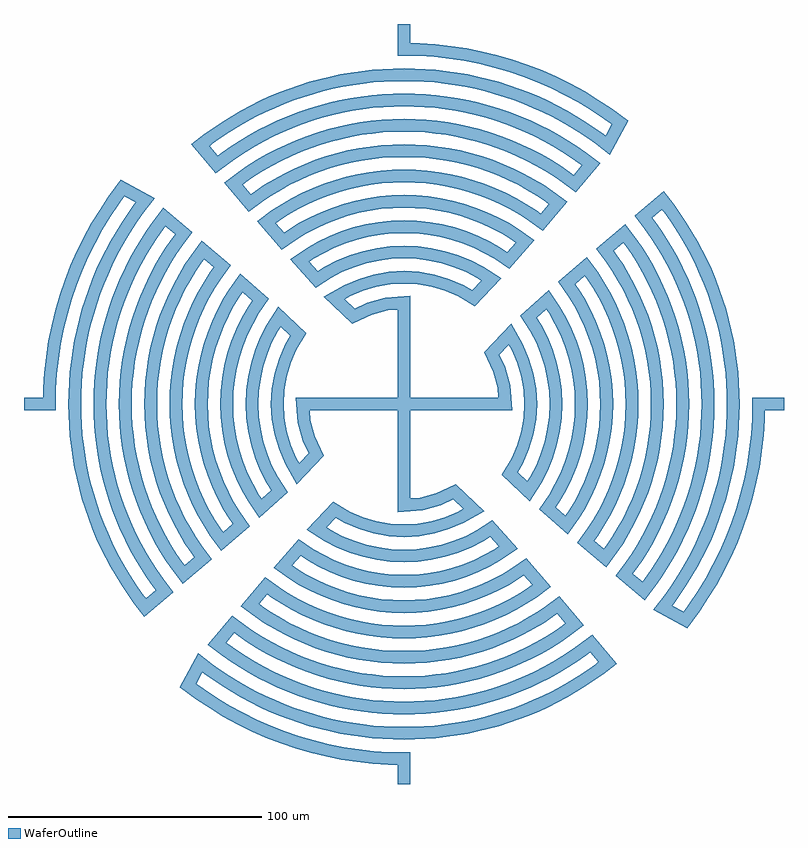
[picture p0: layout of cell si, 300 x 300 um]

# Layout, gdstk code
import gdstk
lib = gdstk.Library(unit=1e-6, precision=1e-09)
WaferOutline = (1, 0)

c_si = lib.new_cell('si')
c_si.add(gdstk.FlexPath([(0,0),(0,40),(-6.946,39.392),(-13.681,37.588),(-20,34.641),(-27.475,41.774),(-22.44,44.682),(-17.101,46.985),(-11.531,48.652),(-5.805,49.662),(0,50),(5.805,49.662),(11.531,48.652),(17.101,46.985),(22.44,44.682),(27.475,41.774),(34.415,49.149),(30,51.962),(25.357,54.378),(20.521,56.382),(15.529,57.956),(10.419,59.088),(5.229,59.772),(0,60),(-5.229,59.772),(-10.419,59.088),(-15.529,57.956),(-20.521,56.382),(-25.357,54.378),(-30,51.962),(-34.415,49.149),(-41.145,56.631),(-37.094,59.363),(-32.863,61.806),(-28.472,63.948),(-23.941,65.778),(-19.295,67.288),(-14.554,68.47),(-9.742,69.319),(-4.883,69.829),(0,70),(4.883,69.829),(9.742,69.319),(14.554,68.47),(19.295,67.288),(23.941,65.778),(28.472,63.948),(32.863,61.806),(37.094,59.363),(41.145,56.631),(47.773,64.17),(43.961,66.839),(40,69.282),(35.904,71.491),(31.686,73.457),(27.362,75.175),(22.944,76.639),(18.449,77.844),(13.892,78.785),(9.287,79.459),(4.652,79.865),(0,80),(-4.652,79.865),(-9.287,79.459),(-13.892,78.785),(-18.449,77.844),(-22.944,76.639),(-27.362,75.175),(-31.686,73.457),(-35.904,71.491),(-40,69.282),(-43.961,66.839),(-47.773,64.17),(-54.342,71.742),(-50.699,74.361),(-46.929,76.796),(-43.043,79.04),(-39.05,81.087),(-34.959,82.933),(-30.782,84.572),(-26.528,86.002),(-22.208,87.217),(-17.833,88.216),(-13.414,88.995),(-8.961,89.553),(-4.486,89.888),(0,90),(4.486,89.888),(8.961,89.553),(13.414,88.995),(17.833,88.216),(22.208,87.217),(26.528,86.002),(30.782,84.572),(34.959,82.933),(39.05,81.087),(43.043,79.04),(46.929,76.796),(50.699,74.361),(54.342,71.742),(60.876,79.335),(57.358,81.915),(53.73,84.339),(50,86.603),(46.175,88.701),(42.262,90.631),(38.268,92.388),(34.202,93.969),(30.071,95.372),(25.882,96.593),(21.644,97.63),(17.365,98.481),(13.053,99.144),(8.716,99.619),(4.362,99.905),(0,100),(-4.362,99.905),(-8.716,99.619),(-13.053,99.144),(-17.365,98.481),(-21.644,97.63),(-25.882,96.593),(-30.071,95.372),(-34.202,93.969),(-38.268,92.388),(-42.262,90.631),(-46.175,88.701),(-50,86.603),(-53.73,84.339),(-57.358,81.915),(-60.876,79.335),(-67.386,86.943),(-63.964,89.491),(-60.446,91.904),(-56.837,94.178),(-53.142,96.311),(-49.368,98.3),(-45.519,100.14),(-41.602,101.83),(-37.622,103.366),(-33.586,104.747),(-29.499,105.971),(-25.368,107.035),(-21.198,107.938),(-16.997,108.679),(-12.77,109.256),(-8.524,109.669),(-4.265,109.917),(0,110),(4.265,109.917),(8.524,109.669),(12.77,109.256),(16.997,108.679),(21.198,107.938),(25.368,107.035),(29.499,105.971),(33.586,104.747),(37.622,103.366),(41.602,101.83),(45.519,100.14),(49.368,98.3),(53.142,96.311),(56.837,94.178),(60.446,91.904),(63.964,89.491),(67.386,86.943),(73.879,94.561),(70.534,97.082),(67.103,99.485),(63.59,101.766),(60,103.923),(56.337,105.954),(52.605,107.855),(48.808,109.625),(44.953,111.262),(41.042,112.763),(37.082,114.127),(33.076,115.351),(29.031,116.435),(24.949,117.378),(20.838,118.177),(16.701,118.832),(12.543,119.343),(8.371,119.708),(4.188,119.927),(0,120),(-4.188,119.927),(-8.371,119.708),(-12.543,119.343),(-16.701,118.832),(-20.838,118.177),(-24.949,117.378),(-29.031,116.435),(-33.076,115.351),(-37.082,114.127),(-41.042,112.763),(-44.953,111.262),(-48.808,109.625),(-52.605,107.855),(-56.337,105.954),(-60,103.923),(-63.59,101.766),(-67.103,99.485),(-70.534,97.082),(-73.879,94.561),(-80.361,102.187),(-77.078,104.685),(-73.718,107.078),(-70.283,109.363),(-66.778,111.538),(-63.206,113.6),(-59.569,115.549),(-55.873,117.38),(-52.121,119.094),(-48.316,120.688),(-44.463,122.16),(-40.564,123.509),(-36.625,124.734),(-32.649,125.833),(-28.64,126.806),(-24.603,127.651),(-20.54,128.367),(-16.457,128.954),(-12.357,129.411),(-8.245,129.738),(-4.125,129.935),(0,130),(4.125,129.935),(8.245,129.738),(12.357,129.411),(16.457,128.954),(20.54,128.367),(24.603,127.651),(28.64,126.806),(32.649,125.833),(36.625,124.734),(40.564,123.509),(44.463,122.16),(48.316,120.688),(52.121,119.094),(55.873,117.38),(59.569,115.549),(63.206,113.6),(66.778,111.538),(70.283,109.363),(73.718,107.078),(77.078,104.685),(80.361,102.187),(85.227,111.069),(80.301,114.681),(75.222,118.075),(70,121.244),(64.645,124.182),(59.167,126.883),(53.576,129.343),(47.883,131.557),(42.099,133.52),(36.235,135.23),(30.302,136.681),(24.311,137.873),(18.274,138.802),(12.202,139.467),(6.107,139.867),(0,140),(0,150)], 5, ends="flush", simple_path=True, layer=1, datatype=0))  # WaferOutline
c_si.add(gdstk.FlexPath([(0,0),(-40,0),(-39.392,-6.946),(-37.588,-13.681),(-34.641,-20),(-41.774,-27.475),(-44.682,-22.44),(-46.985,-17.101),(-48.652,-11.531),(-49.662,-5.805),(-50,0),(-49.662,5.805),(-48.652,11.531),(-46.985,17.101),(-44.682,22.44),(-41.774,27.475),(-49.149,34.415),(-51.962,30),(-54.378,25.357),(-56.382,20.521),(-57.956,15.529),(-59.088,10.419),(-59.772,5.229),(-60,0),(-59.772,-5.229),(-59.088,-10.419),(-57.956,-15.529),(-56.382,-20.521),(-54.378,-25.357),(-51.962,-30),(-49.149,-34.415),(-56.631,-41.145),(-59.363,-37.094),(-61.806,-32.863),(-63.948,-28.472),(-65.778,-23.941),(-67.288,-19.295),(-68.47,-14.554),(-69.319,-9.742),(-69.829,-4.883),(-70,0),(-69.829,4.883),(-69.319,9.742),(-68.47,14.554),(-67.288,19.295),(-65.778,23.941),(-63.948,28.472),(-61.806,32.863),(-59.363,37.094),(-56.631,41.145),(-64.17,47.773),(-66.839,43.961),(-69.282,40),(-71.491,35.904),(-73.457,31.686),(-75.175,27.362),(-76.639,22.944),(-77.844,18.449),(-78.785,13.892),(-79.459,9.287),(-79.865,4.652),(-80,0),(-79.865,-4.652),(-79.459,-9.287),(-78.785,-13.892),(-77.844,-18.449),(-76.639,-22.944),(-75.175,-27.362),(-73.457,-31.686),(-71.491,-35.904),(-69.282,-40),(-66.839,-43.961),(-64.17,-47.773),(-71.742,-54.342),(-74.361,-50.699),(-76.796,-46.929),(-79.04,-43.043),(-81.087,-39.05),(-82.933,-34.959),(-84.572,-30.782),(-86.002,-26.528),(-87.217,-22.208),(-88.216,-17.833),(-88.995,-13.414),(-89.553,-8.961),(-89.888,-4.486),(-90,0),(-89.888,4.486),(-89.553,8.961),(-88.995,13.414),(-88.216,17.833),(-87.217,22.208),(-86.002,26.528),(-84.572,30.782),(-82.933,34.959),(-81.087,39.05),(-79.04,43.043),(-76.796,46.929),(-74.361,50.699),(-71.742,54.342),(-79.335,60.876),(-81.915,57.358),(-84.339,53.73),(-86.603,50),(-88.701,46.175),(-90.631,42.262),(-92.388,38.268),(-93.969,34.202),(-95.372,30.071),(-96.593,25.882),(-97.63,21.644),(-98.481,17.365),(-99.144,13.053),(-99.619,8.716),(-99.905,4.362),(-100,0),(-99.905,-4.362),(-99.619,-8.716),(-99.144,-13.053),(-98.481,-17.365),(-97.63,-21.644),(-96.593,-25.882),(-95.372,-30.071),(-93.969,-34.202),(-92.388,-38.268),(-90.631,-42.262),(-88.701,-46.175),(-86.603,-50),(-84.339,-53.73),(-81.915,-57.358),(-79.335,-60.876),(-86.943,-67.386),(-89.491,-63.964),(-91.904,-60.446),(-94.178,-56.837),(-96.311,-53.142),(-98.3,-49.368),(-100.14,-45.519),(-101.83,-41.602),(-103.366,-37.622),(-104.747,-33.586),(-105.971,-29.499),(-107.035,-25.368),(-107.938,-21.198),(-108.679,-16.997),(-109.256,-12.77),(-109.669,-8.524),(-109.917,-4.265),(-110,0),(-109.917,4.265),(-109.669,8.524),(-109.256,12.77),(-108.679,16.997),(-107.938,21.198),(-107.035,25.368),(-105.971,29.499),(-104.747,33.586),(-103.366,37.622),(-101.83,41.602),(-100.14,45.519),(-98.3,49.368),(-96.311,53.142),(-94.178,56.837),(-91.904,60.446),(-89.491,63.964),(-86.943,67.386),(-94.561,73.879),(-97.082,70.534),(-99.485,67.103),(-101.766,63.59),(-103.923,60),(-105.954,56.337),(-107.855,52.605),(-109.625,48.808),(-111.262,44.953),(-112.763,41.042),(-114.127,37.082),(-115.351,33.076),(-116.435,29.031),(-117.378,24.949),(-118.177,20.838),(-118.832,16.701),(-119.343,12.543),(-119.708,8.371),(-119.927,4.188),(-120,0),(-119.927,-4.188),(-119.708,-8.371),(-119.343,-12.543),(-118.832,-16.701),(-118.177,-20.838),(-117.378,-24.949),(-116.435,-29.031),(-115.351,-33.076),(-114.127,-37.082),(-112.763,-41.042),(-111.262,-44.953),(-109.625,-48.808),(-107.855,-52.605),(-105.954,-56.337),(-103.923,-60),(-101.766,-63.59),(-99.485,-67.103),(-97.082,-70.534),(-94.561,-73.879),(-102.187,-80.361),(-104.685,-77.078),(-107.078,-73.718),(-109.363,-70.283),(-111.538,-66.778),(-113.6,-63.206),(-115.549,-59.569),(-117.38,-55.873),(-119.094,-52.121),(-120.688,-48.316),(-122.16,-44.463),(-123.509,-40.564),(-124.734,-36.625),(-125.833,-32.649),(-126.806,-28.64),(-127.651,-24.603),(-128.367,-20.54),(-128.954,-16.457),(-129.411,-12.357),(-129.738,-8.245),(-129.935,-4.125),(-130,0),(-129.935,4.125),(-129.738,8.245),(-129.411,12.357),(-128.954,16.457),(-128.367,20.54),(-127.651,24.603),(-126.806,28.64),(-125.833,32.649),(-124.734,36.625),(-123.509,40.564),(-122.16,44.463),(-120.688,48.316),(-119.094,52.121),(-117.38,55.873),(-115.549,59.569),(-113.6,63.206),(-111.538,66.778),(-109.363,70.283),(-107.078,73.718),(-104.685,77.078),(-102.187,80.361),(-111.069,85.227),(-114.681,80.301),(-118.075,75.222),(-121.244,70),(-124.182,64.645),(-126.883,59.167),(-129.343,53.576),(-131.557,47.883),(-133.52,42.099),(-135.23,36.235),(-136.681,30.302),(-137.873,24.311),(-138.802,18.274),(-139.467,12.202),(-139.867,6.107),(-140,0),(-150,0)], 5, ends="flush", simple_path=True, layer=1, datatype=0))  # WaferOutline
c_si.add(gdstk.FlexPath([(0,0),(0,-40),(6.946,-39.392),(13.681,-37.588),(20,-34.641),(27.475,-41.774),(22.44,-44.682),(17.101,-46.985),(11.531,-48.652),(5.805,-49.662),(0,-50),(-5.805,-49.662),(-11.531,-48.652),(-17.101,-46.985),(-22.44,-44.682),(-27.475,-41.774),(-34.415,-49.149),(-30,-51.962),(-25.357,-54.378),(-20.521,-56.382),(-15.529,-57.956),(-10.419,-59.088),(-5.229,-59.772),(0,-60),(5.229,-59.772),(10.419,-59.088),(15.529,-57.956),(20.521,-56.382),(25.357,-54.378),(30,-51.962),(34.415,-49.149),(41.145,-56.631),(37.094,-59.363),(32.863,-61.806),(28.472,-63.948),(23.941,-65.778),(19.295,-67.288),(14.554,-68.47),(9.742,-69.319),(4.883,-69.829),(0,-70),(-4.883,-69.829),(-9.742,-69.319),(-14.554,-68.47),(-19.295,-67.288),(-23.941,-65.778),(-28.472,-63.948),(-32.863,-61.806),(-37.094,-59.363),(-41.145,-56.631),(-47.773,-64.17),(-43.961,-66.839),(-40,-69.282),(-35.904,-71.491),(-31.686,-73.457),(-27.362,-75.175),(-22.944,-76.639),(-18.449,-77.844),(-13.892,-78.785),(-9.287,-79.459),(-4.652,-79.865),(0,-80),(4.652,-79.865),(9.287,-79.459),(13.892,-78.785),(18.449,-77.844),(22.944,-76.639),(27.362,-75.175),(31.686,-73.457),(35.904,-71.491),(40,-69.282),(43.961,-66.839),(47.773,-64.17),(54.342,-71.742),(50.699,-74.361),(46.929,-76.796),(43.043,-79.04),(39.05,-81.087),(34.959,-82.933),(30.782,-84.572),(26.528,-86.002),(22.208,-87.217),(17.833,-88.216),(13.414,-88.995),(8.961,-89.553),(4.486,-89.888),(0,-90),(-4.486,-89.888),(-8.961,-89.553),(-13.414,-88.995),(-17.833,-88.216),(-22.208,-87.217),(-26.528,-86.002),(-30.782,-84.572),(-34.959,-82.933),(-39.05,-81.087),(-43.043,-79.04),(-46.929,-76.796),(-50.699,-74.361),(-54.342,-71.742),(-60.876,-79.335),(-57.358,-81.915),(-53.73,-84.339),(-50,-86.603),(-46.175,-88.701),(-42.262,-90.631),(-38.268,-92.388),(-34.202,-93.969),(-30.071,-95.372),(-25.882,-96.593),(-21.644,-97.63),(-17.365,-98.481),(-13.053,-99.144),(-8.716,-99.619),(-4.362,-99.905),(0,-100),(4.362,-99.905),(8.716,-99.619),(13.053,-99.144),(17.365,-98.481),(21.644,-97.63),(25.882,-96.593),(30.071,-95.372),(34.202,-93.969),(38.268,-92.388),(42.262,-90.631),(46.175,-88.701),(50,-86.603),(53.73,-84.339),(57.358,-81.915),(60.876,-79.335),(67.386,-86.943),(63.964,-89.491),(60.446,-91.904),(56.837,-94.178),(53.142,-96.311),(49.368,-98.3),(45.519,-100.14),(41.602,-101.83),(37.622,-103.366),(33.586,-104.747),(29.499,-105.971),(25.368,-107.035),(21.198,-107.938),(16.997,-108.679),(12.77,-109.256),(8.524,-109.669),(4.265,-109.917),(0,-110),(-4.265,-109.917),(-8.524,-109.669),(-12.77,-109.256),(-16.997,-108.679),(-21.198,-107.938),(-25.368,-107.035),(-29.499,-105.971),(-33.586,-104.747),(-37.622,-103.366),(-41.602,-101.83),(-45.519,-100.14),(-49.368,-98.3),(-53.142,-96.311),(-56.837,-94.178),(-60.446,-91.904),(-63.964,-89.491),(-67.386,-86.943),(-73.879,-94.561),(-70.534,-97.082),(-67.103,-99.485),(-63.59,-101.766),(-60,-103.923),(-56.337,-105.954),(-52.605,-107.855),(-48.808,-109.625),(-44.953,-111.262),(-41.042,-112.763),(-37.082,-114.127),(-33.076,-115.351),(-29.031,-116.435),(-24.949,-117.378),(-20.838,-118.177),(-16.701,-118.832),(-12.543,-119.343),(-8.371,-119.708),(-4.188,-119.927),(0,-120),(4.188,-119.927),(8.371,-119.708),(12.543,-119.343),(16.701,-118.832),(20.838,-118.177),(24.949,-117.378),(29.031,-116.435),(33.076,-115.351),(37.082,-114.127),(41.042,-112.763),(44.953,-111.262),(48.808,-109.625),(52.605,-107.855),(56.337,-105.954),(60,-103.923),(63.59,-101.766),(67.103,-99.485),(70.534,-97.082),(73.879,-94.561),(80.361,-102.187),(77.078,-104.685),(73.718,-107.078),(70.283,-109.363),(66.778,-111.538),(63.206,-113.6),(59.569,-115.549),(55.873,-117.38),(52.121,-119.094),(48.316,-120.688),(44.463,-122.16),(40.564,-123.509),(36.625,-124.734),(32.649,-125.833),(28.64,-126.806),(24.603,-127.651),(20.54,-128.367),(16.457,-128.954),(12.357,-129.411),(8.245,-129.738),(4.125,-129.935),(0,-130),(-4.125,-129.935),(-8.245,-129.738),(-12.357,-129.411),(-16.457,-128.954),(-20.54,-128.367),(-24.603,-127.651),(-28.64,-126.806),(-32.649,-125.833),(-36.625,-124.734),(-40.564,-123.509),(-44.463,-122.16),(-48.316,-120.688),(-52.121,-119.094),(-55.873,-117.38),(-59.569,-115.549),(-63.206,-113.6),(-66.778,-111.538),(-70.283,-109.363),(-73.718,-107.078),(-77.078,-104.685),(-80.361,-102.187),(-85.227,-111.069),(-80.301,-114.681),(-75.222,-118.075),(-70,-121.244),(-64.645,-124.182),(-59.167,-126.883),(-53.576,-129.343),(-47.883,-131.557),(-42.099,-133.52),(-36.235,-135.23),(-30.302,-136.681),(-24.311,-137.873),(-18.274,-138.802),(-12.202,-139.467),(-6.107,-139.867),(0,-140),(0,-150)], 5, ends="flush", simple_path=True, layer=1, datatype=0))  # WaferOutline
c_si.add(gdstk.FlexPath([(0,0),(40,0),(39.392,6.946),(37.588,13.681),(34.641,20),(41.774,27.475),(44.682,22.44),(46.985,17.101),(48.652,11.531),(49.662,5.805),(50,0),(49.662,-5.805),(48.652,-11.531),(46.985,-17.101),(44.682,-22.44),(41.774,-27.475),(49.149,-34.415),(51.962,-30),(54.378,-25.357),(56.382,-20.521),(57.956,-15.529),(59.088,-10.419),(59.772,-5.229),(60,0),(59.772,5.229),(59.088,10.419),(57.956,15.529),(56.382,20.521),(54.378,25.357),(51.962,30),(49.149,34.415),(56.631,41.145),(59.363,37.094),(61.806,32.863),(63.948,28.472),(65.778,23.941),(67.288,19.295),(68.47,14.554),(69.319,9.742),(69.829,4.883),(70,0),(69.829,-4.883),(69.319,-9.742),(68.47,-14.554),(67.288,-19.295),(65.778,-23.941),(63.948,-28.472),(61.806,-32.863),(59.363,-37.094),(56.631,-41.145),(64.17,-47.773),(66.839,-43.961),(69.282,-40),(71.491,-35.904),(73.457,-31.686),(75.175,-27.362),(76.639,-22.944),(77.844,-18.449),(78.785,-13.892),(79.459,-9.287),(79.865,-4.652),(80,0),(79.865,4.652),(79.459,9.287),(78.785,13.892),(77.844,18.449),(76.639,22.944),(75.175,27.362),(73.457,31.686),(71.491,35.904),(69.282,40),(66.839,43.961),(64.17,47.773),(71.742,54.342),(74.361,50.699),(76.796,46.929),(79.04,43.043),(81.087,39.05),(82.933,34.959),(84.572,30.782),(86.002,26.528),(87.217,22.208),(88.216,17.833),(88.995,13.414),(89.553,8.961),(89.888,4.486),(90,0),(89.888,-4.486),(89.553,-8.961),(88.995,-13.414),(88.216,-17.833),(87.217,-22.208),(86.002,-26.528),(84.572,-30.782),(82.933,-34.959),(81.087,-39.05),(79.04,-43.043),(76.796,-46.929),(74.361,-50.699),(71.742,-54.342),(79.335,-60.876),(81.915,-57.358),(84.339,-53.73),(86.603,-50),(88.701,-46.175),(90.631,-42.262),(92.388,-38.268),(93.969,-34.202),(95.372,-30.071),(96.593,-25.882),(97.63,-21.644),(98.481,-17.365),(99.144,-13.053),(99.619,-8.716),(99.905,-4.362),(100,0),(99.905,4.362),(99.619,8.716),(99.144,13.053),(98.481,17.365),(97.63,21.644),(96.593,25.882),(95.372,30.071),(93.969,34.202),(92.388,38.268),(90.631,42.262),(88.701,46.175),(86.603,50),(84.339,53.73),(81.915,57.358),(79.335,60.876),(86.943,67.386),(89.491,63.964),(91.904,60.446),(94.178,56.837),(96.311,53.142),(98.3,49.368),(100.14,45.519),(101.83,41.602),(103.366,37.622),(104.747,33.586),(105.971,29.499),(107.035,25.368),(107.938,21.198),(108.679,16.997),(109.256,12.77),(109.669,8.524),(109.917,4.265),(110,0),(109.917,-4.265),(109.669,-8.524),(109.256,-12.77),(108.679,-16.997),(107.938,-21.198),(107.035,-25.368),(105.971,-29.499),(104.747,-33.586),(103.366,-37.622),(101.83,-41.602),(100.14,-45.519),(98.3,-49.368),(96.311,-53.142),(94.178,-56.837),(91.904,-60.446),(89.491,-63.964),(86.943,-67.386),(94.561,-73.879),(97.082,-70.534),(99.485,-67.103),(101.766,-63.59),(103.923,-60),(105.954,-56.337),(107.855,-52.605),(109.625,-48.808),(111.262,-44.953),(112.763,-41.042),(114.127,-37.082),(115.351,-33.076),(116.435,-29.031),(117.378,-24.949),(118.177,-20.838),(118.832,-16.701),(119.343,-12.543),(119.708,-8.371),(119.927,-4.188),(120,0),(119.927,4.188),(119.708,8.371),(119.343,12.543),(118.832,16.701),(118.177,20.838),(117.378,24.949),(116.435,29.031),(115.351,33.076),(114.127,37.082),(112.763,41.042),(111.262,44.953),(109.625,48.808),(107.855,52.605),(105.954,56.337),(103.923,60),(101.766,63.59),(99.485,67.103),(97.082,70.534),(94.561,73.879),(102.187,80.361),(104.685,77.078),(107.078,73.718),(109.363,70.283),(111.538,66.778),(113.6,63.206),(115.549,59.569),(117.38,55.873),(119.094,52.121),(120.688,48.316),(122.16,44.463),(123.509,40.564),(124.734,36.625),(125.833,32.649),(126.806,28.64),(127.651,24.603),(128.367,20.54),(128.954,16.457),(129.411,12.357),(129.738,8.245),(129.935,4.125),(130,0),(129.935,-4.125),(129.738,-8.245),(129.411,-12.357),(128.954,-16.457),(128.367,-20.54),(127.651,-24.603),(126.806,-28.64),(125.833,-32.649),(124.734,-36.625),(123.509,-40.564),(122.16,-44.463),(120.688,-48.316),(119.094,-52.121),(117.38,-55.873),(115.549,-59.569),(113.6,-63.206),(111.538,-66.778),(109.363,-70.283),(107.078,-73.718),(104.685,-77.078),(102.187,-80.361),(111.069,-85.227),(114.681,-80.301),(118.075,-75.222),(121.244,-70),(124.182,-64.645),(126.883,-59.167),(129.343,-53.576),(131.557,-47.883),(133.52,-42.099),(135.23,-36.235),(136.681,-30.302),(137.873,-24.311),(138.802,-18.274),(139.467,-12.202),(139.867,-6.107),(140,0),(150,0)], 5, ends="flush", simple_path=True, layer=1, datatype=0))  # WaferOutline

lib.write_gds('si.gds')
